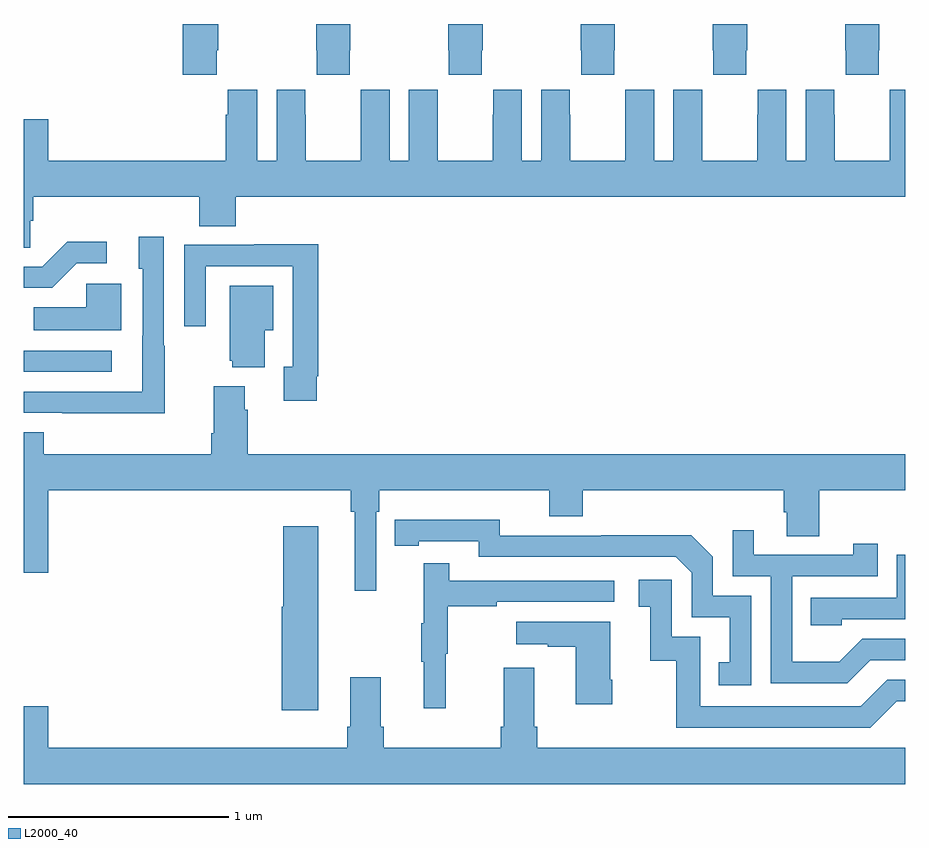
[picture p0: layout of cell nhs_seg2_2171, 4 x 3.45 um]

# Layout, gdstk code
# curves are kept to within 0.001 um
import gdstk
lib = gdstk.Library(unit=1e-6, precision=1e-09)
def R(c, l, rs):  # rectangles x0, y0, x1, y1
    for r in rs: c.add(gdstk.rectangle(r[:2], r[2:], *l))
def P(c, l, *ps):  # polygons
    for p in ps: c.add(gdstk.Polygon(p, *l))
L2000_40 = (2000, 40)

nhs_seg2_2171 = lib.new_cell('nhs_seg2_2171')
R(nhs_seg2_2171, L2000_40, [(225,600.222,225.4,600.318)])
P(nhs_seg2_2171, L2000_40, [(226.479,601.681),(226.482,601.681),(226.482,601.8),(226.327,601.8),(226.327,601.681),(226.329,601.681),(226.329,601.569),(226.479,601.569)],
  [(225.875,601.681),(225.882,601.681),(225.882,601.8),(225.722,601.8),(225.722,601.569),(225.875,601.569)],
  [(228.879,601.681),(228.882,601.681),(228.882,601.8),(228.727,601.8),(228.727,601.681),(228.729,601.681),(228.729,601.569),(228.879,601.569)],
  [(228.279,601.681),(228.282,601.681),(228.282,601.8),(228.127,601.8),(228.127,601.681),(228.129,601.681),(228.129,601.569),(228.279,601.569)],
  [(227.679,601.681),(227.682,601.681),(227.682,601.8),(227.527,601.8),(227.527,601.681),(227.529,601.681),(227.529,601.569),(227.679,601.569)],
  [(227.079,601.681),(227.082,601.681),(227.082,601.8),(226.927,601.8),(226.927,601.681),(226.929,601.681),(226.929,601.569),(227.079,601.569)],
  [(225.03,600.907),(225.044,600.907),(225.044,601.016),(225.797,601.016),(225.797,600.883),(225.962,600.883),(225.962,601.016),(229,601.016),(229,601.501),(228.93,601.501),(228.93,601.388),(228.929,601.388),(228.929,601.18),(228.679,601.18),(228.679,601.388),(228.678,601.388),(228.678,601.501),(228.548,601.501),(228.548,601.18),(228.46,601.18),(228.46,601.501),(228.33,601.501),(228.33,601.388),(228.329,601.388),(228.329,601.18),(228.079,601.18),(228.079,601.388),(228.078,601.388),(228.078,601.501),(227.948,601.501),(227.948,601.18),(227.86,601.18),(227.86,601.501),(227.73,601.501),(227.73,601.388),(227.729,601.388),(227.729,601.18),(227.479,601.18),(227.479,601.388),(227.478,601.388),(227.478,601.501),(227.348,601.501),(227.348,601.18),(227.26,601.18),(227.26,601.501),(227.13,601.501),(227.13,601.388),(227.129,601.388),(227.129,601.18),(226.879,601.18),(226.879,601.388),(226.878,601.388),(226.878,601.501),(226.748,601.501),(226.748,601.18),(226.66,601.18),(226.66,601.501),(226.53,601.501),(226.53,601.388),(226.529,601.388),(226.529,601.18),(226.279,601.18),(226.279,601.388),(226.278,601.388),(226.278,601.501),(226.148,601.501),(226.148,601.18),(226.06,601.18),(226.06,601.501),(225.926,601.501),(225.926,601.388),(225.917,601.388),(225.917,601.18),(225.112,601.18),(225.112,601.369),(225,601.369),(225,600.784),(225.03,600.784)],
  [(225.639,600.341),(225.636,600.341),(225.636,600.835),(225.521,600.835),(225.521,600.69),(225.54,600.69),(225.54,600.386),(225.539,600.386),(225.539,600.132),(225,600.132),(225,600.036),(225.175,600.036),(225.175,600.035),(225.639,600.035)],
  [(225.241,600.714),(225.376,600.714),(225.376,600.812),(225.197,600.812),(225.084,600.699),(225,600.699),(225,600.603),(225.13,600.603)],
  [(226.33,600.202),(226.337,600.202),(226.337,600.8),(226.045,600.8),(226.045,600.798),(225.729,600.798),(225.729,600.429),(225.825,600.429),(225.825,600.702),(226.221,600.702),(226.221,600.246),(226.181,600.246),(226.181,600.09),(226.33,600.09)],
  [(225.442,600.622),(225.285,600.622),(225.285,600.514),(225.046,600.514),(225.046,600.41),(225.442,600.41)],
  [(226.093,600.41),(226.132,600.41),(226.132,600.613),(225.935,600.613),(225.935,600.273),(225.947,600.273),(225.947,600.242),(226.093,600.242)],
  [(225,599.947),(225,599.31),(225.112,599.31),(225.112,599.684),(226.483,599.684),(226.483,599.588),(226.502,599.588),(226.502,599.229),(226.599,599.229),(226.599,599.588),(226.613,599.588),(226.613,599.684),(227.384,599.684),(227.384,599.567),(227.537,599.567),(227.537,599.684),(228.449,599.684),(228.449,599.586),(228.461,599.586),(228.461,599.476),(228.609,599.476),(228.609,599.684),(229,599.684),(229,599.848),(226.016,599.848),(226.016,600.05),(226.003,600.05),(226.003,600.157),(225.863,600.157),(225.863,599.944),(225.851,599.944),(225.851,599.848),(225.092,599.848),(225.092,599.947)],
  [(228.3,599.205),(228.126,599.205),(228.126,599.382),(228.028,599.48),(227.62,599.48),(227.62,599.478),(227.16,599.478),(227.16,599.551),(226.684,599.55),(226.684,599.434),(226.792,599.434),(226.792,599.454),(227.064,599.454),(227.064,599.382),(227.958,599.382),(228.03,599.31),(228.03,599.109),(228.203,599.109),(228.203,598.905),(228.154,598.905),(228.154,598.8),(228.3,598.8)],
  [(226.336,599.521),(226.178,599.521),(226.178,599.157),(226.172,599.157),(226.172,598.686),(226.336,598.686)],
  [(228.841,598.914),(229,598.914),(229,599.01),(228.804,599.01),(228.7,598.906),(228.486,598.906),(228.486,599.295),(228.875,599.295),(228.875,599.443),(228.764,599.443),(228.764,599.391),(228.313,599.391),(228.313,599.503),(228.216,599.503),(228.216,599.295),(228.39,599.295),(228.39,598.809),(228.736,598.809)],
  [(228.711,599.1),(229,599.1),(229,599.391),(228.96,599.391),(228.96,599.196),(228.571,599.196),(228.571,599.073),(228.711,599.073)],
  [(226.916,598.944),(226.924,598.944),(226.924,599.158),(227.147,599.158),(227.147,599.178),(227.68,599.178),(227.68,599.274),(226.931,599.274),(226.931,599.353),(226.814,599.353),(226.814,599.081),(226.803,599.081),(226.803,598.907),(226.814,598.907),(226.814,598.695),(226.916,598.695)],
  [(228.96,598.728),(229,598.728),(229,598.824),(228.918,598.824),(228.798,598.704),(228.069,598.704),(228.069,599.019),(227.94,599.019),(227.94,599.278),(227.79,599.278),(227.79,599.157),(227.843,599.157),(227.843,598.911),(227.961,598.911),(227.961,598.608),(228.84,598.608)],
  [(227.67,598.825),(227.662,598.825),(227.662,599.089),(227.235,599.089),(227.235,598.985),(227.378,598.985),(227.378,598.975),(227.504,598.975),(227.504,598.713),(227.67,598.713)],
  [(227.177,598.879),(227.177,598.612),(227.165,598.612),(227.165,598.516),(226.634,598.516),(226.634,598.612),(226.621,598.612),(226.621,598.837),(226.481,598.837),(226.481,598.612),(226.469,598.612),(226.469,598.516),(225.112,598.516),(225.112,598.705),(225,598.705),(225,598.352),(229,598.352),(229,598.516),(227.33,598.516),(227.33,598.612),(227.317,598.612),(227.317,598.879)])

lib.write_gds('nhs_seg2_2171.gds')
